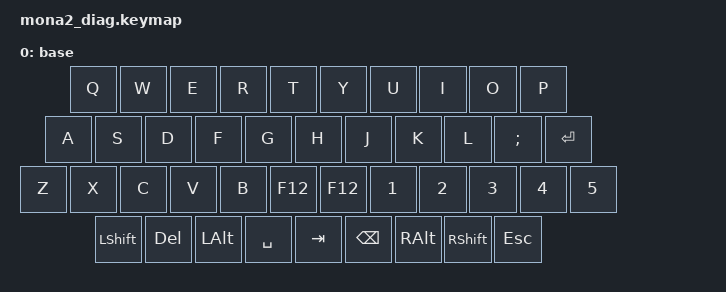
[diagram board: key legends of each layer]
#include <behaviors.dtsi>
#include <dt-bindings/zmk/keys.h>

/*
 * Hardware-only diagnostic map for the right moNa2 matrix.
 * Every position is a plain key binding: no combos, layers, hold-taps,
 * pointing behavior, or Studio locking can hide a scan result.
 * The N position and following D3/P0.29 row positions are 1-5; the
 * immediately preceding edge position remains F12.
 */
/ {
    keymap {
        compatible = "zmk,keymap";

        base {
            bindings = <
                &kp Q       &kp W       &kp E       &kp R       &kp T       &kp Y       &kp U       &kp I       &kp O       &kp P
                &kp A       &kp S       &kp D       &kp F       &kp G       &kp H       &kp J       &kp K       &kp L       &kp SEMICOLON &kp ENTER
                &kp Z       &kp X       &kp C       &kp V       &kp B       &kp F12      &kp F12      &kp N1       &kp N2       &kp N3       &kp N4       &kp N5
                &kp LEFT_SHIFT &kp DELETE &kp LEFT_ALT &kp SPACE &kp TAB &kp BACKSPACE &kp RIGHT_ALT &kp RIGHT_SHIFT &kp ESC
            >;
        };
    };
};
